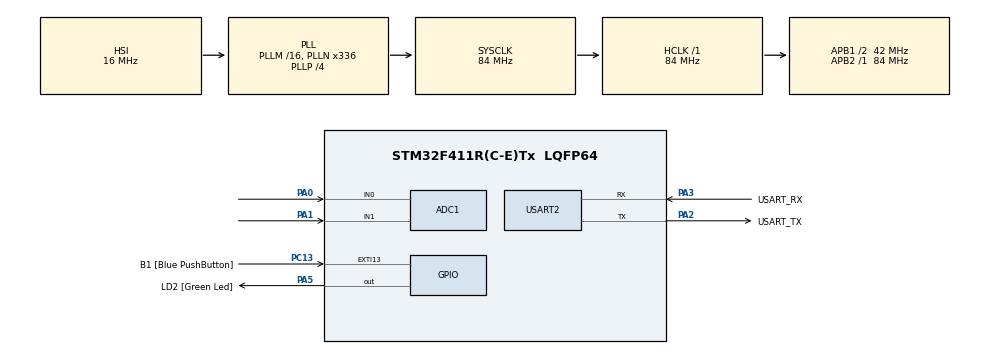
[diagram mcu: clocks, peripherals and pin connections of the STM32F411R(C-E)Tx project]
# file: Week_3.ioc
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ADC1.Channel-0\#ChannelRegularConversion=ADC_CHANNEL_TEMPSENSOR
ADC1.NbrOfConversionFlag=1
ADC1.Rank-0\#ChannelRegularConversion=1
ADC1.SamplingTime-0\#ChannelRegularConversion=ADC_SAMPLETIME_3CYCLES
ADC1.master=1
Mcu.Family=STM32F4
Mcu.Name=STM32F411R(C-E)Tx
Mcu.Package=LQFP64
NVIC.PriorityGroup=NVIC_PRIORITYGROUP_0
PA0-WKUP.Signal=ADCx_IN0
PA1.Signal=ADCx_IN1
PA13.GPIO_Label=TMS
PA13.Mode=Serial_Wire
PA13.Signal=SYS_JTMS-SWDIO
PA14.GPIO_Label=TCK
PA14.Mode=Serial_Wire
PA14.Signal=SYS_JTCK-SWCLK
PA2.GPIO_Label=USART_TX
PA2.Mode=Asynchronous
PA2.Signal=USART2_TX
PA3.GPIO_Label=USART_RX
PA3.Mode=Asynchronous
PA3.Signal=USART2_RX
PA5.GPIO_Label=LD2 [Green Led]
PA5.Signal=GPIO_Output
PB3.GPIO_Label=SWO
PB3.Signal=SYS_JTDO-SWO
PC13-ANTI_TAMP.GPIO_Label=B1 [Blue PushButton]
PC13-ANTI_TAMP.GPIO_ModeDefaultEXTI=GPIO_MODE_IT_FALLING
PC13-ANTI_TAMP.Signal=GPXTI13
PC14-OSC32_IN.Mode=LSE-External-Oscillator
PC14-OSC32_IN.Signal=RCC_OSC32_IN
PC15-OSC32_OUT.Mode=LSE-External-Oscillator
PC15-OSC32_OUT.Signal=RCC_OSC32_OUT
PH0\ -\ OSC_IN.Mode=HSE-External-Clock-Source
PH0\ -\ OSC_IN.Signal=RCC_OSC_IN
PH1\ -\ OSC_OUT.Mode=HSE-External-Clock-Source
PH1\ -\ OSC_OUT.Signal=RCC_OSC_OUT
ProjectManager.HeapSize=0x200
ProjectManager.StackSize=0x400
ProjectManager.TargetToolchain=STM32CubeIDE
RCC.48MHZClocksFreq_Value=84000000
RCC.AHBFreq_Value=84000000
RCC.APB1CLKDivider=RCC_HCLK_DIV2
RCC.APB1Freq_Value=42000000
RCC.APB1TimFreq_Value=84000000
RCC.APB2Freq_Value=84000000
RCC.APB2TimFreq_Value=84000000
RCC.CortexFreq_Value=84000000
RCC.FLatency-AdvancedSettings=FLASH_LATENCY_2
RCC.HCLKFreq_Value=84000000
RCC.HSE_VALUE=8000000
RCC.HSI_VALUE=16000000
RCC.PLLN=336
RCC.PLLP=RCC_PLLP_DIV4
RCC.SYSCLKFreq_VALUE=84000000
RCC.SYSCLKSource=RCC_SYSCLKSOURCE_PLLCLK
RCC.VCOOutputFreq_Value=336000000
SH.ADCx_IN0.0=ADC1_IN0,IN0
SH.ADCx_IN1.0=ADC1_IN1,IN1
USART2.VirtualMode=VM_ASYNC
VP_ADC1_TempSens_Input.Mode=IN-TempSens
board=NUCLEO-F411RE

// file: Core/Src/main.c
/* USER CODE BEGIN Header */
/**
  ******************************************************************************
  * @file           : main.c
  * @brief          : Main program body
  ******************************************************************************
  * @attention
  *
  * <h2><center>&copy; Copyright (c) 2021 STMicroelectronics.
  * All rights reserved.</center></h2>
  *
  * This software component is licensed by ST under BSD 3-Clause license,
  * the "License"; You may not use this file except in compliance with the
  * License. You may obtain a copy of the License at:
  *                        opensource.org/licenses/BSD-3-Clause
  *
  ******************************************************************************
  */
/* USER CODE END Header */
#include "main.h"

ADC_HandleTypeDef hadc1;

UART_HandleTypeDef huart2;

/* USER CODE BEGIN PV */
typedef struct
{
	ADC_ChannelConfTypeDef Config;
	uint16_t Data;
} ADCStructure;

ADCStructure ADCChannel[3] = {0};

/* USER CODE END PV */

void SystemClock_Config(void);
static void MX_GPIO_Init(void);
static void MX_USART2_UART_Init(void);
static void MX_ADC1_Init(void);
/* USER CODE BEGIN PFP */
void ADCPollingMethodInit();
void ADCPollingMethodUpdate(); // Read ADC From 3 Source(In0, In1, Temp)
/* USER CODE END PFP */

int main(void)
{

  /* MCU Configuration--------------------------------------------------------*/

  /* Reset of all peripherals, Initializes the Flash interface and the Systick. */
  HAL_Init();

  /* Configure the system clock */
  SystemClock_Config();

  /* Initialize all configured peripherals */
  MX_GPIO_Init();
  MX_USART2_UART_Init();
  MX_ADC1_Init();

  /* Infinite loop */
  while (1)
  {

    /* USER CODE BEGIN 3 */
	  // Read Analog
	  ADCPollingMethodUpdate();
  }
  /* USER CODE END 3 */
}

void SystemClock_Config(void)
{
  RCC_OscInitTypeDef RCC_OscInitStruct = {0};
  RCC_ClkInitTypeDef RCC_ClkInitStruct = {0};

  /** Configure the main internal regulator output voltage
  */
  __HAL_RCC_PWR_CLK_ENABLE();
  __HAL_PWR_VOLTAGESCALING_CONFIG(PWR_REGULATOR_VOLTAGE_SCALE1);
  /** Initializes the RCC Oscillators according to the specified parameters
  * in the RCC_OscInitTypeDef structure.
  */
  RCC_OscInitStruct.OscillatorType = RCC_OSCILLATORTYPE_HSI;
  RCC_OscInitStruct.HSIState = RCC_HSI_ON;
  RCC_OscInitStruct.HSICalibrationValue = RCC_HSICALIBRATION_DEFAULT;
  RCC_OscInitStruct.PLL.PLLState = RCC_PLL_ON;
  RCC_OscInitStruct.PLL.PLLSource = RCC_PLLSOURCE_HSI;
  RCC_OscInitStruct.PLL.PLLM = 16;
  RCC_OscInitStruct.PLL.PLLN = 336;
  RCC_OscInitStruct.PLL.PLLP = RCC_PLLP_DIV4;
  RCC_OscInitStruct.PLL.PLLQ = 4;
  if (HAL_RCC_OscConfig(&RCC_OscInitStruct) != HAL_OK)
  {
    Error_Handler();
  }
  /** Initializes the CPU, AHB and APB buses clocks
  */
  RCC_ClkInitStruct.ClockType = RCC_CLOCKTYPE_HCLK|RCC_CLOCKTYPE_SYSCLK
                              |RCC_CLOCKTYPE_PCLK1|RCC_CLOCKTYPE_PCLK2;
  RCC_ClkInitStruct.SYSCLKSource = RCC_SYSCLKSOURCE_PLLCLK;
  RCC_ClkInitStruct.AHBCLKDivider = RCC_SYSCLK_DIV1;
  RCC_ClkInitStruct.APB1CLKDivider = RCC_HCLK_DIV2;
  RCC_ClkInitStruct.APB2CLKDivider = RCC_HCLK_DIV1;

  if (HAL_RCC_ClockConfig(&RCC_ClkInitStruct, FLASH_LATENCY_2) != HAL_OK)
  {
    Error_Handler();
  }
}

static void MX_ADC1_Init(void)
{

  ADC_ChannelConfTypeDef sConfig = {0};

  /** Configure the global features of the ADC (Clock, Resolution, Data Alignment and number of conversion)
  */
  hadc1.Instance = ADC1;
  hadc1.Init.ClockPrescaler = ADC_CLOCK_SYNC_PCLK_DIV4;
  hadc1.Init.Resolution = ADC_RESOLUTION_12B;
  hadc1.Init.ScanConvMode = DISABLE;
  hadc1.Init.ContinuousConvMode = DISABLE;
  hadc1.Init.DiscontinuousConvMode = DISABLE;
  hadc1.Init.ExternalTrigConvEdge = ADC_EXTERNALTRIGCONVEDGE_NONE;
  hadc1.Init.ExternalTrigConv = ADC_SOFTWARE_START;
  hadc1.Init.DataAlign = ADC_DATAALIGN_RIGHT;
  hadc1.Init.NbrOfConversion = 1;
  hadc1.Init.DMAContinuousRequests = DISABLE;
  hadc1.Init.EOCSelection = ADC_EOC_SINGLE_CONV;
  if (HAL_ADC_Init(&hadc1) != HAL_OK)
  {
    Error_Handler();
  }
  /** Configure for the selected ADC regular channel its corresponding rank in the sequencer and its sample time.
  */
  sConfig.Channel = ADC_CHANNEL_TEMPSENSOR;
  sConfig.Rank = 1;
  sConfig.SamplingTime = ADC_SAMPLETIME_3CYCLES;
  if (HAL_ADC_ConfigChannel(&hadc1, &sConfig) != HAL_OK)
  {
    Error_Handler();
  }

}

static void MX_USART2_UART_Init(void)
{

  huart2.Instance = USART2;
  huart2.Init.BaudRate = 115200;
  huart2.Init.WordLength = UART_WORDLENGTH_8B;
  huart2.Init.StopBits = UART_STOPBITS_1;
  huart2.Init.Parity = UART_PARITY_NONE;
  huart2.Init.Mode = UART_MODE_TX_RX;
  huart2.Init.HwFlowCtl = UART_HWCONTROL_NONE;
  huart2.Init.OverSampling = UART_OVERSAMPLING_16;
  if (HAL_UART_Init(&huart2) != HAL_OK)
  {
    Error_Handler();
  }

}

static void MX_GPIO_Init(void)
{
  GPIO_InitTypeDef GPIO_InitStruct = {0};

  /* GPIO Ports Clock Enable */
  __HAL_RCC_GPIOC_CLK_ENABLE();
  __HAL_RCC_GPIOH_CLK_ENABLE();
  __HAL_RCC_GPIOA_CLK_ENABLE();
  __HAL_RCC_GPIOB_CLK_ENABLE();

  /*Configure GPIO pin Output Level */
  HAL_GPIO_WritePin(LD2_GPIO_Port, LD2_Pin, GPIO_PIN_RESET);

  /*Configure GPIO pin : B1_Pin */
  GPIO_InitStruct.Pin = B1_Pin;
  GPIO_InitStruct.Mode = GPIO_MODE_IT_FALLING;
  GPIO_InitStruct.Pull = GPIO_NOPULL;
  HAL_GPIO_Init(B1_GPIO_Port, &GPIO_InitStruct);

  /*Configure GPIO pin : LD2_Pin */
  GPIO_InitStruct.Pin = LD2_Pin;
  GPIO_InitStruct.Mode = GPIO_MODE_OUTPUT_PP;
  GPIO_InitStruct.Pull = GPIO_NOPULL;
  GPIO_InitStruct.Speed = GPIO_SPEED_FREQ_LOW;
  HAL_GPIO_Init(LD2_GPIO_Port, &GPIO_InitStruct);

}

/* USER CODE BEGIN 4 */
void ADCPollingMethodInit()
{
	// PA0 - ADC IN0
	ADCChannel[0].Config.Channel = ADC_CHANNEL_0;
	ADCChannel[0].Config.Rank = 1;
	ADCChannel[0].Config.SamplingTime = ADC_SAMPLETIME_3CYCLES;

	// PA1 - ADC IN1
	ADCChannel[1].Config.Channel = ADC_CHANNEL_1;
	ADCChannel[1].Config.Rank = 1;
	ADCChannel[1].Config.SamplingTime = ADC_SAMPLETIME_3CYCLES;

	// Temp
	ADCChannel[2].Config.Channel = ADC_CHANNEL_TEMPSENSOR;
	ADCChannel[2].Config.Rank = 1;
	ADCChannel[2].Config.SamplingTime = ADC_SAMPLETIME_3CYCLES;
}

void ADCPollingMethodUpdate()
{
	for (int i=0 ; i<3 ; i++)
	{
		// Select Channel
		HAL_ADC_ConfigChannel(&hadc1, &ADCChannel[i].Config);

		// ADC Sampling, Convert
		HAL_ADC_Start(&hadc1);

		// Wait ADC
		if (HAL_ADC_PollForConversion(&hadc1, 10) == HAL_OK)
		{
			// Get Value
			ADCChannel[i].Data = HAL_ADC_GetValue(&hadc1);
		}

		// Stop
		HAL_ADC_Stop(&hadc1);
	}
}
/* USER CODE END 4 */

void Error_Handler(void)
{
  __disable_irq();
  while (1)
  {
  }
}

/************************ (C) COPYRIGHT STMicroelectronics *****END OF FILE****/
